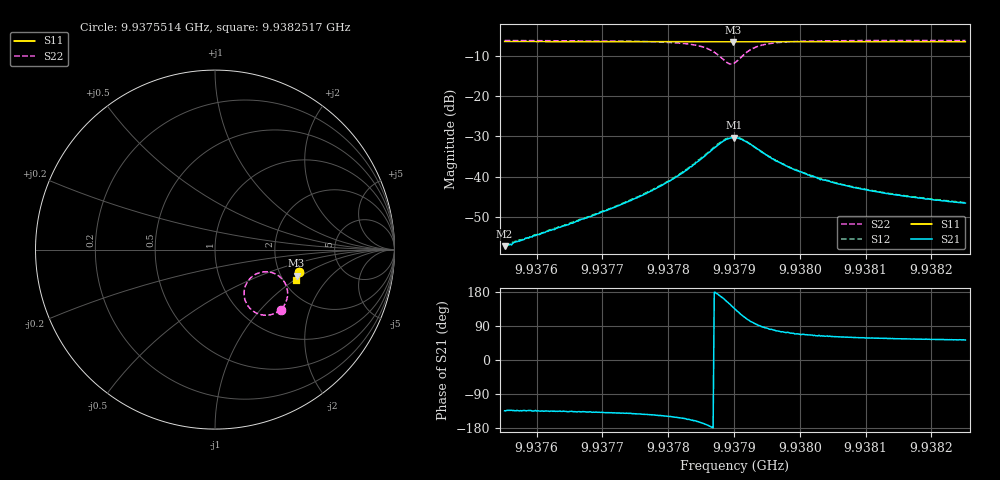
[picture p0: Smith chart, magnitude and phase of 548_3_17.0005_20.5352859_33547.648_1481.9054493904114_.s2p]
#  HZ  S  RI  R  50.00
! Rohde & Schwarz Vector Network Analyzer
! Rohde-Schwarz,ZNB20-2Port,1311601062101988,3.16
! Created: UTC 3/20/2024, 11:16:42 PM
! freq[Hz]  re:S11  im:S11  re:S21  im:S21  re:S12  im:S12  re:S22  im:S22
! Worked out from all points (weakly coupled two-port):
!   401 points, 9.9375514 GHz to 9.9382517 GHz, reference 50 ohm
!   highest |S21| = -30.26 dB at 9.9378998 GHz (marker M1); lowest = -57.3 dB at 9.9375514 GHz (marker M2)
!   lowest |S11| = -6.4 dB at 9.937898 GHz (marker M3), VSWR 2.83, Z = 121 - j45.7 ohm
!   |S11| at or under -10 dB: nowhere
!   |S22| runs from -11.9 to -6.1 dB; largest |S21 - S12| = 0.0014
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9.93755141e9  0.466 -0.1249  -0.000943 -0.000978  -0.000967 -0.00099  0.3662 -0.3342
9.93766871e9  0.4633 -0.1329  -0.00217 -0.00201  -0.00219 -0.00201  0.3501 -0.3462
9.93772473e9  0.4618 -0.1367  -0.00333 -0.00281  -0.00342 -0.00281  0.3365 -0.3536
9.937786e9  0.46 -0.1408  -0.0062 -0.00413  -0.00637 -0.00411  0.3091 -0.363
9.93782452e9  0.4587 -0.1436  -0.0104 -0.00495  -0.0107 -0.00486  0.2722 -0.3652
9.93785778e9  0.4569 -0.1456  -0.0184 -0.00318  -0.019 -0.00274  0.2088 -0.3402
9.93787004e9  0.4559 -0.1462  -0.0227 0.000487  -0.0233 0.000837  0.1792 -0.3063
9.93788229e9  0.455 -0.1462  -0.0262 0.00727  -0.0266 0.00823  0.162 -0.2464
9.93789104e9  0.4548 -0.1459  -0.0261 0.014  -0.0262 0.0152  0.174 -0.1919
9.93789805e9  0.4546 -0.1457  -0.0235 0.0196  -0.0233 0.0208  0.2036 -0.1532
9.9378998e9  0.4548 -0.1456  -0.0226 0.0208  -0.0221 0.0219  0.2132 -0.1455
9.93790155e9  0.4547 -0.1455  -0.0214 0.0216  -0.0211 0.023  0.2234 -0.1389
9.9379103e9  0.4551 -0.1457  -0.0149 0.0253  -0.0143 0.0261  0.279 -0.1233
9.93792256e9  0.456 -0.1461  -0.00678 0.025  -0.00597 0.0256  0.3428 -0.1389
9.93794181e9  0.4565 -0.1478  0.000802 0.0202  0.00109 0.0205  0.3906 -0.1881
9.93796107e9  0.4564 -0.1496  0.0031 0.016  0.00372 0.0159  0.4035 -0.227
9.93798208e9  0.456 -0.1513  0.00388 0.0127  0.00431 0.0125  0.4041 -0.2551
9.93801884e9  0.4551 -0.1541  0.00414 0.00929  0.00439 0.00925  0.3984 -0.2837
9.93803285e9  0.4548 -0.155  0.00412 0.00835  0.00439 0.00841  0.3957 -0.291
9.93807837e9  0.4536 -0.1581  0.00374 0.00644  0.00392 0.00644  0.3881 -0.3072
9.93813614e9  0.4521 -0.162  0.00334 0.0051  0.00344 0.00509  0.3799 -0.3198
9.93825168e9  0.4489 -0.1695  0.00283 0.00373  0.00292 0.00373  0.3679 -0.3348
